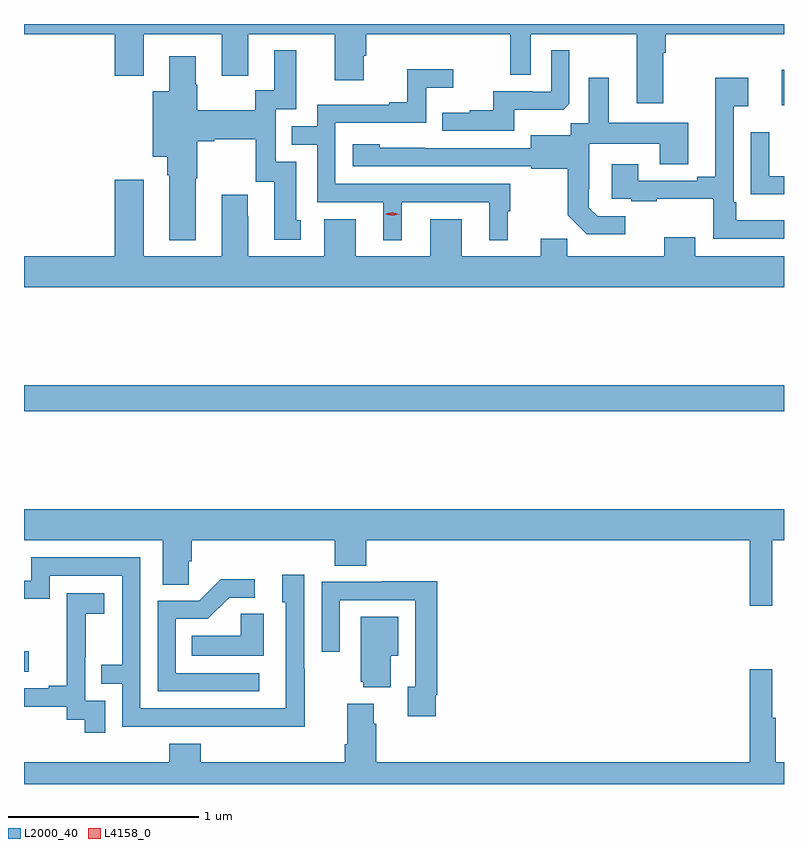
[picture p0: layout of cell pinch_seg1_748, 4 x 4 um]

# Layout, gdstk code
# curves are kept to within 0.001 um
import gdstk
lib = gdstk.Library(unit=1e-6, precision=1e-09)
def R(c, l, rs):  # rectangles x0, y0, x1, y1
    for r in rs: c.add(gdstk.rectangle(r[:2], r[2:], *l))
def P(c, l, *ps):  # polygons
    for p in ps: c.add(gdstk.Polygon(p, *l))
L2000_40 = (2000, 40)
L4158_0 = (4158, 0)

pinch_seg1_748 = lib.new_cell('pinch_seg1_748')
R(pinch_seg1_748, L2000_40, [(827.336,539.052,827.362,539.161), (827.336,540.424,831.336,540.56), (831.323,542.034,831.336,542.222)])
P(pinch_seg1_748, L2000_40, [(827.336,542.408),(827.813,542.408),(827.813,542.19),(827.965,542.19),(827.965,542.408),(828.377,542.408),(828.377,542.19),(828.517,542.19),(828.517,542.408),(828.971,542.408),(828.971,542.166),(829.123,542.166),(829.123,542.295),(829.136,542.295),(829.136,542.408),(829.896,542.408),(829.896,542.194),(830.004,542.194),(830.004,542.408),(830.561,542.408),(830.561,542.046),(830.701,542.046),(830.701,542.312),(830.714,542.312),(830.714,542.408),(831.336,542.408),(831.336,542.462),(827.336,542.462)],
  [(829.915,542.012),(830.173,542.012),(830.205,542.043),(830.205,542.323),(830.112,542.323),(830.112,542.106),(830.012,542.106),(830.012,542.109),(829.805,542.109),(829.805,542.008),(829.681,542.008),(829.681,541.996),(829.537,541.996),(829.537,541.899),(829.915,541.899)],
  [(828.241,541.651),(828.249,541.651),(828.249,541.844),(828.337,541.844),(828.337,541.856),(828.557,541.856),(828.557,541.632),(828.653,541.632),(828.653,541.326),(828.793,541.326),(828.793,541.428),(828.769,541.428),(828.769,541.737),(828.66,541.737),(828.66,542.013),(828.769,542.013),(828.769,542.323),(828.653,542.323),(828.653,542.114),(828.552,542.114),(828.552,542.008),(828.249,542.008),(828.249,542.142),(828.241,542.142),(828.241,542.293),(828.101,542.293),(828.101,542.107),(828.014,542.107),(828.014,541.763),(828.089,541.763),(828.089,541.667),(828.101,541.667),(828.101,541.325),(828.241,541.325)],
  [(829.324,541.524),(829.784,541.524),(829.784,541.325),(829.882,541.325),(829.882,541.476),(829.894,541.476),(829.894,541.62),(828.975,541.62),(828.975,541.941),(829.452,541.941),(829.452,542.126),(829.594,542.126),(829.594,542.225),(829.354,542.225),(829.354,542.05),(829.259,542.05),(829.259,542.037),(828.879,542.037),(828.879,541.923),(828.745,541.923),(828.745,541.827),(828.879,541.827),(828.879,541.524),(829.226,541.524),(829.226,541.325),(829.324,541.325)],
  [(831.336,541.429),(831.085,541.429),(831.085,541.525),(831.072,541.525),(831.072,542.03),(831.148,542.03),(831.148,542.179),(830.975,542.179),(830.975,541.657),(830.879,541.657),(830.879,541.638),(830.569,541.638),(830.569,541.723),(830.429,541.723),(830.429,541.542),(830.533,541.542),(830.533,541.53),(830.665,541.53),(830.665,541.541),(830.964,541.541),(830.964,541.332),(831.336,541.332)],
  [(830.5,541.449),(830.355,541.449),(830.308,541.496),(830.308,541.591),(830.31,541.591),(830.31,541.832),(830.681,541.832),(830.681,541.723),(830.833,541.723),(830.833,541.942),(830.413,541.942),(830.413,542.179),(830.309,542.179),(830.309,541.94),(830.214,541.94),(830.214,541.876),(830.003,541.876),(830.003,541.809),(829.209,541.81),(829.209,541.828),(829.065,541.828),(829.065,541.713),(830.007,541.713),(830.007,541.701),(830.199,541.701),(830.199,541.455),(830.299,541.355),(830.5,541.355)],
  [(831.336,541.662),(831.258,541.662),(831.258,541.891),(831.162,541.891),(831.162,541.565),(831.336,541.565)],
  [(831.336,541.24),(830.869,541.24),(830.869,541.339),(830.705,541.339),(830.705,541.24),(830.195,541.24),(830.195,541.331),(830.057,541.331),(830.057,541.24),(829.639,541.24),(829.639,541.435),(829.475,541.435),(829.475,541.24),(829.081,541.24),(829.081,541.435),(828.917,541.435),(828.917,541.24),(828.517,541.24),(828.517,541.451),(828.514,541.451),(828.514,541.564),(828.377,541.564),(828.377,541.24),(827.965,541.24),(827.965,541.642),(827.813,541.642),(827.813,541.24),(827.336,541.24),(827.336,541.076),(831.336,541.076)],
  [(831.274,539.744),(831.336,539.744),(831.336,539.908),(827.336,539.908),(827.336,539.744),(828.065,539.744),(828.065,539.512),(828.204,539.512),(828.204,539.635),(828.218,539.635),(828.218,539.744),(828.971,539.744),(828.971,539.611),(829.136,539.611),(829.136,539.744),(831.157,539.744),(831.157,539.4),(831.274,539.4)],
  [(828.813,539.069),(828.81,539.069),(828.81,539.563),(828.695,539.563),(828.695,539.418),(828.714,539.418),(828.714,538.86),(827.949,538.86),(827.949,539.655),(827.375,539.655),(827.375,539.532),(827.336,539.532),(827.336,539.436),(827.472,539.436),(827.472,539.559),(827.853,539.559),(827.853,539.09),(827.743,539.09),(827.743,538.989),(827.853,538.989),(827.853,538.764),(828.349,538.764),(828.349,538.763),(828.813,538.763)],
  [(828.574,539.046),(828.135,539.046),(828.135,539.331),(828.304,539.331),(828.415,539.442),(828.55,539.442),(828.55,539.54),(828.371,539.54),(828.258,539.427),(828.039,539.427),(828.039,538.95),(828.574,538.95)],
  [(829.504,538.93),(829.511,538.93),(829.511,539.528),(829.219,539.528),(829.219,539.526),(828.903,539.526),(828.903,539.157),(828.999,539.157),(828.999,539.43),(829.395,539.43),(829.395,538.974),(829.355,538.974),(829.355,538.818),(829.504,538.818)],
  [(827.763,538.899),(827.658,538.899),(827.658,539.129),(827.66,539.129),(827.66,539.357),(827.758,539.357),(827.758,539.467),(827.56,539.467),(827.56,539.261),(827.561,539.261),(827.561,538.978),(827.465,538.978),(827.465,538.965),(827.336,538.965),(827.336,538.869),(827.562,538.869),(827.562,538.801),(827.655,538.801),(827.655,538.731),(827.763,538.731)],
  [(828.598,539.357),(828.477,539.357),(828.477,539.242),(828.22,539.242),(828.22,539.138),(828.598,539.138)],
  [(829.267,539.138),(829.306,539.138),(829.306,539.341),(829.109,539.341),(829.109,539.001),(829.121,539.001),(829.121,538.97),(829.267,538.97)],
  [(831.336,538.576),(831.293,538.576),(831.293,538.812),(831.275,538.812),(831.275,539.065),(831.157,539.065),(831.157,538.576),(829.19,538.576),(829.19,538.778),(829.177,538.778),(829.177,538.885),(829.037,538.885),(829.037,538.672),(829.025,538.672),(829.025,538.576),(828.266,538.576),(828.266,538.675),(828.101,538.675),(828.101,538.576),(827.336,538.576),(827.336,538.462),(831.336,538.462)])
P(pinch_seg1_748, L4158_0, [(829.275,541.452),(829.24,541.462),(829.239,541.462),(829.24,541.463),(829.275,541.472),(829.31,541.461),(829.311,541.461),(829.31,541.461)])

lib.write_gds('pinch_seg1_748.gds')
